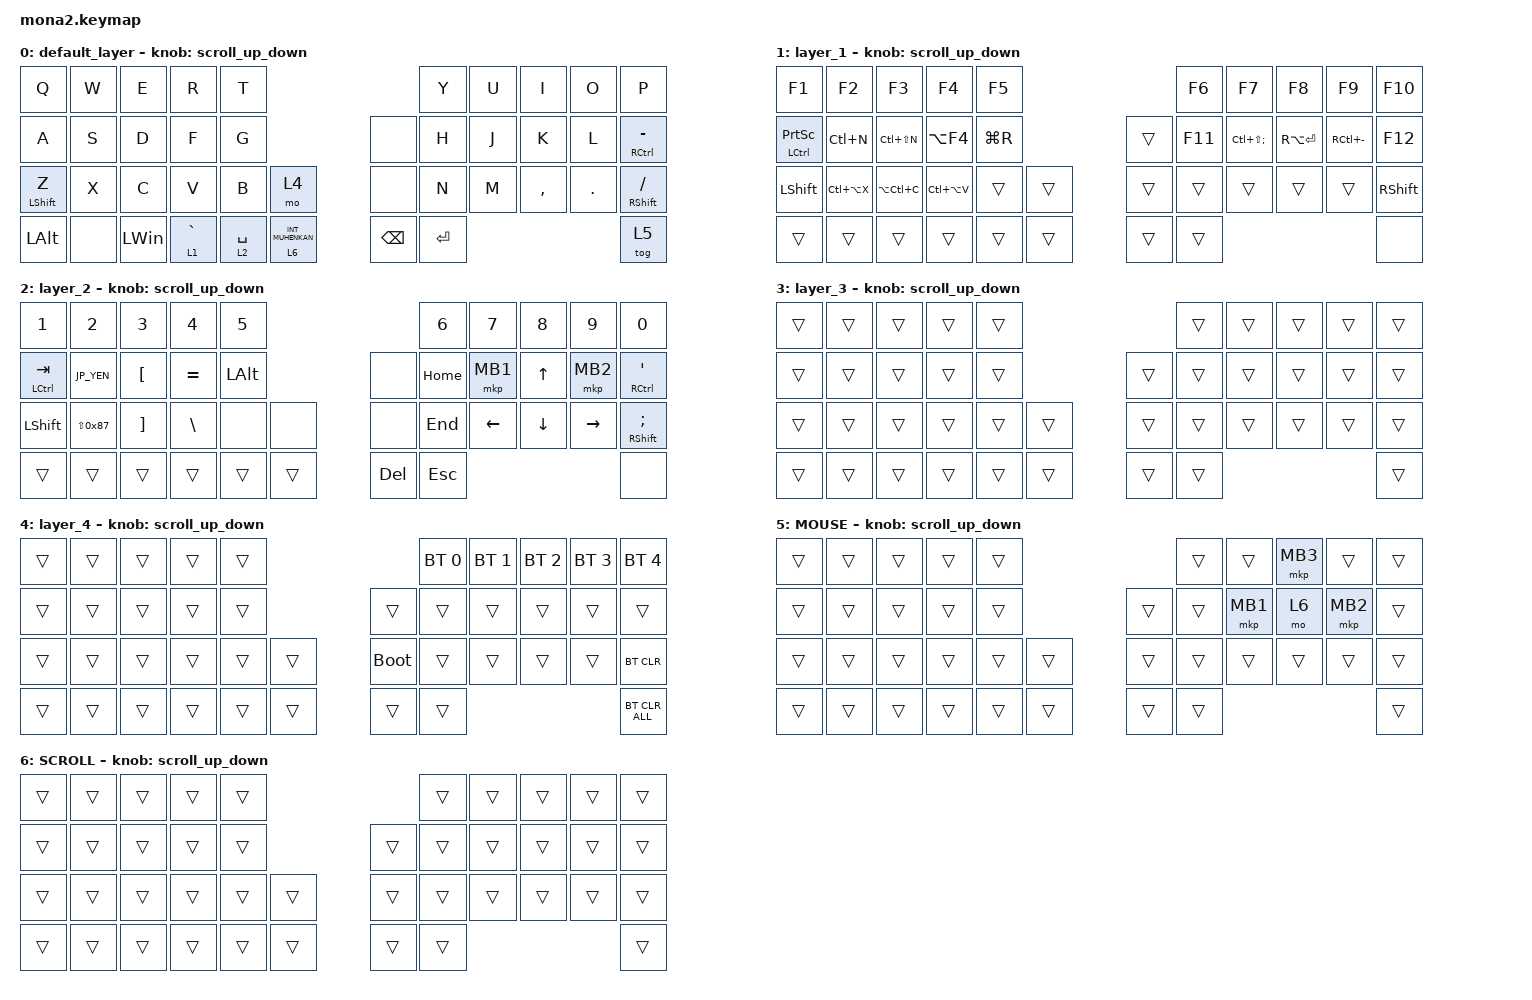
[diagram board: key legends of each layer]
#include <input/processors.dtsi>
#include <dt-bindings/zmk/input_transform.h>
#include <zephyr/dt-bindings/input/input-event-codes.h>
#include <behaviors.dtsi>
#include <dt-bindings/zmk/bt.h>
#include <dt-bindings/zmk/keys.h>
#include <dt-bindings/zmk/pointing.h>

// #define ZMK_POINTING_DEFAULT_SCRL_VAL 100
#define MOUSE 5
#define SCROLL 6

// OS設定を日本語キーボードのまま使用するための変換定義
#define JP_DQUOTE       AT                // "
#define JP_AMPERSAND    CARET             // &
#define JP_QUOTE        AMPERSAND         // '
#define JP_EQUAL        UNDER             // =
#define JP_CARET        EQUAL             // ^
#define JP_YEN          0x89              // ¥
#define JP_PLUS         COLON             // +
#define JP_TILDE        PLUS              // ~
#define JP_PIPE         LS(0x89)          // |
#define JP_AT           LEFT_BRACKET      // @
#define JP_COLON        SINGLE_QUOTE      // :
#define JP_ASTERISK     DOUBLE_QUOTES     // *
#define JP_BACKQUOTE    LEFT_BRACE        // `
#define JP_UNDERSCORE   LS(0x87)          // _
#define JP_LBRACKET     RIGHT_BRACKET     // [
#define JP_RBRACKET     BACKSLASH         // ]
#define JP_LPAREN       ASTERISK          // (
#define JP_RPAREN       LEFT_PARENTHESIS  // )
#define JP_LBRACE       RIGHT_BRACE       // {
#define JP_RBRACE       PIPE              // }
#define JP_KANA         LANGUAGE_1        // かな
#define JP_EISU         LANGUAGE_2        // 英数
#define JP_HANZEN       GRAVE             // 半角/全角

&mt {
    flavor = "balanced";
    quick-tap-ms = <0>;
};

&lt {
    quick-tap-ms = <300>;
    flavor = "balanced";
};

/ {
    combos {
        compatible = "zmk,combos";

        layer4_ESC {
            bindings = <&lt 4 ESC>;
            key-positions = <39 38>;
        };

        tab {
            bindings = <&kp TAB>;
            key-positions = <11 12>;
        };
    };

    macros {
        to_layer_0: to_layer_0 {
            compatible = "zmk,behavior-macro-one-param";
            #binding-cells = <1>;
            bindings = <&to 0 &macro_param_1to1 &kp MACRO_PLACEHOLDER>;
            label = "TO_LAYER_0";
        };
    };

    behaviors {
        lt_to_layer_0: lt_to_layer_0 {
            compatible = "zmk,behavior-hold-tap";
            label = "LAYER_TAP_TO_0";
            bindings = <&mo>, <&to_layer_0>;

            #binding-cells = <2>;
            tapping-term-ms = <200>;
        };

        scroll_up_down: mouse_wheel_up_down {
            compatible = "zmk,behavior-sensor-rotate";
            #sensor-binding-cells = <0>;
            bindings = <&msc SCRL_DOWN>, <&msc SCRL_UP>;

            tap-ms = <20>;
        };

        scroll_right_left: mouse_wheel_right_left {
            compatible = "zmk,behavior-sensor-rotate";
            #sensor-binding-cells = <0>;
            bindings = <&msc SCRL_LEFT>, <&msc SCRL_RIGHT>;

            tap-ms = <20>;
        };
    };

    keymap {
        compatible = "zmk,keymap";

        default_layer {
            bindings = <
&kp Q             &kp W  &kp E         &kp R                      &kp T                                             &kp Y      &kp U  &kp I      &kp O    &kp P
&kp A             &kp S  &kp D         &kp F                      &kp G                              &none          &kp H      &kp J  &kp K      &kp L    &mt RCTRL MINUS
&mt LEFT_SHIFT Z  &kp X  &kp C         &kp V                      &kp B        &mo 4                 &none          &kp N      &kp M  &kp COMMA  &kp DOT  &mt RIGHT_SHIFT SLASH
&kp LEFT_ALT      &none  &kp LEFT_WIN  &lt 1 JP_HANZEN  &lt 2 SPACE  &lt 6 INT_MUHENKAN    &kp BACKSPACE  &kp ENTER                             &tog 5
            >;

            sensor-bindings = <&scroll_up_down>;
        };

        layer_1 {
            bindings = <
&kp F1                 &kp F2         &kp F3         &kp F4         &kp F5                       &kp F6   &kp F7                 &kp F8         &kp F9         &kp F10
&mt LCTRL PRINTSCREEN  &kp LC(N)      &kp LC(LS(N))  &kp LA(F4)     &kp LG(R)            &trans  &kp F11  &kp LC(LS(SEMICOLON))  &kp RA(ENTER)  &kp RC(MINUS)  &kp F12
&kp LEFT_SHIFT         &kp LC(LA(X))  &kp LA(LC(C))  &kp LC(LA(V))  &trans     &trans    &trans  &trans   &trans                 &trans         &trans         &kp RIGHT_SHIFT
&trans                 &trans         &trans         &trans         &trans     &trans    &trans  &trans                                                        &none
            >;

            sensor-bindings = <&scroll_up_down>;
        };

        layer_2 {
            bindings = <
&kp NUMBER_1    &kp NUMBER_2              &kp NUMBER_3      &kp NUMBER_4       &kp N5                              &kp NUMBER_6  &kp N7          &kp N8          &kp N9           &kp N0
&mt LCTRL TAB   &kp JP_YEN                &kp JP_AT         &kp JP_CARET       &kp LEFT_ALT            &none       &kp HOME      &mkp MB1        &kp UP_ARROW    &mkp MB2         &mt RCTRL JP_COLON
&kp LEFT_SHIFT  &kp JP_UNDERSCORE         &kp JP_LBRACKET   &kp JP_RBRACKET    &none         &none     &none       &kp END       &kp LEFT_ARROW  &kp DOWN_ARROW  &kp RIGHT_ARROW  &mt RIGHT_SHIFT SEMICOLON
&trans          &trans                    &trans            &trans             &trans        &trans    &kp DELETE  &kp ESCAPE                                                     &none
            >;

            sensor-bindings = <&scroll_up_down>;
        };

        layer_3 {
            bindings = <
&trans  &trans  &trans  &trans  &trans                    &trans  &trans  &trans  &trans  &trans
&trans  &trans  &trans  &trans  &trans            &trans  &trans  &trans  &trans  &trans  &trans
&trans  &trans  &trans  &trans  &trans  &trans    &trans  &trans  &trans  &trans  &trans  &trans
&trans  &trans  &trans  &trans  &trans  &trans    &trans  &trans                          &trans
            >;

            sensor-bindings = <&scroll_up_down>;
        };

        layer_4 {
            bindings = <
&trans  &trans  &trans  &trans  &trans                         &bt BT_SEL 0  &bt BT_SEL 1  &bt BT_SEL 2  &bt BT_SEL 3  &bt BT_SEL 4
&trans  &trans  &trans  &trans  &trans            &trans       &trans        &trans        &trans        &trans        &trans
&trans  &trans  &trans  &trans  &trans  &trans    &bootloader  &trans        &trans        &trans        &trans        &bt BT_CLR
&trans  &trans  &trans  &trans  &trans  &trans    &trans       &trans                                                  &bt BT_CLR_ALL
            >;

            sensor-bindings = <&scroll_up_down>;
        };

        MOUSE {
            bindings = <
&trans  &trans  &trans  &trans  &trans                    &trans  &trans    &mkp MB3  &trans    &trans
&trans  &trans  &trans  &trans  &trans            &trans  &trans  &mkp MB1  &mo 6     &mkp MB2  &trans
&trans  &trans  &trans  &trans  &trans  &trans    &trans  &trans  &trans    &trans    &trans    &trans
&trans  &trans  &trans  &trans  &trans  &trans    &trans  &trans                                &trans
            >;

            sensor-bindings = <&scroll_up_down>;
        };

        SCROLL {
            bindings = <
&trans  &trans  &trans  &trans  &trans                    &trans  &trans  &trans  &trans  &trans
&trans  &trans  &trans  &trans  &trans            &trans  &trans  &trans  &trans  &trans  &trans
&trans  &trans  &trans  &trans  &trans  &trans    &trans  &trans  &trans  &trans  &trans  &trans
&trans  &trans  &trans  &trans  &trans  &trans    &trans  &trans                          &trans
            >;

            sensor-bindings = <&scroll_up_down>;
        };
    };
};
